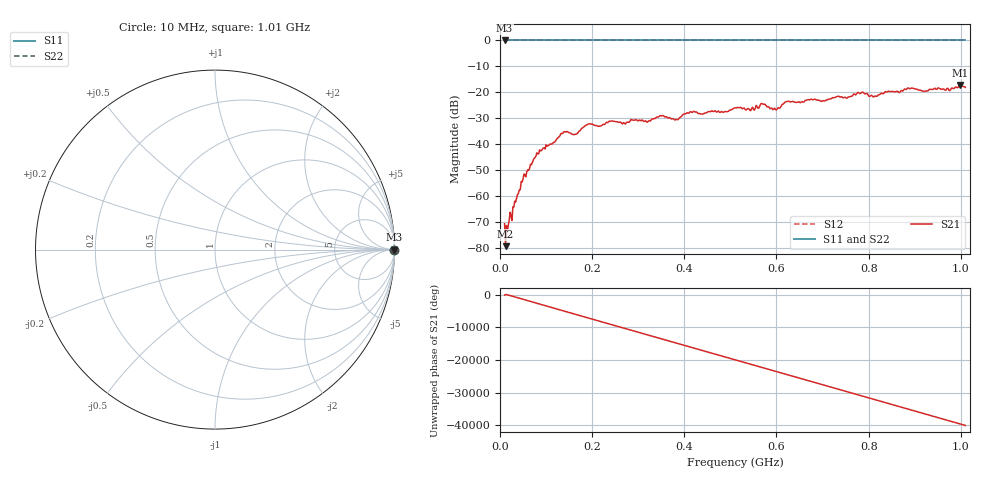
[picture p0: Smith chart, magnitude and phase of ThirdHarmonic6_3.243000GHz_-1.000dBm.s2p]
! 8/17/2025 9:57:42 AM
! C:\ANRITSUVNA\TEMP\TEMP.S2P
! CHANNEL.1
! TR.MEASUREMENT
! RAW.DATA
! RF.CORRECTION.OFF
! AVERAGING.OFF
! IF.BANDWIDTH: 5KHZ
! SWEEPTYPE:  FREQ.SWEEP(Linear)
! Reference Plane Port Info
! PORT:  PORT1  PORT2
! DISTANCE:  0  m  0  m
! TIME:  0  s  0  s
! PHASE.OFFSET:  0  deg.  0  deg.
! LOSS:  0  dB  0  dB
! REF.LOSS:  0  dB  0  dB
! REF.FREQ:  0  Hz  0  Hz
! Power Info
! POWER:  -20  dBm  -20  dBm
! EFF.POWER:  -20  dBm  -20  dBm
! SOURCE.ATTEN:  0  dB  0  dB
! TEST.ATTEN:  0  dB  0  dB
# GHZ S RI R 50.0
! FREQ.GHZ  S11RE  S11IM  S21RE  S21IM  S12RE  S12IM  S22RE  S22IM
!; PortSelection: Port_12
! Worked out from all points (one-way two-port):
!   501 points, 10 MHz to 1.01 GHz, reference 50 ohm
!   highest |S21| = -17.15 dB at 998 MHz (marker M1); lowest = -79.2 dB at 12 MHz (marker M2)
!   lowest |S11| = 0.0 dB at 10 MHz (marker M3)
!   |S11| at or under -10 dB: nowhere
!   |S22| runs from 0.0 to 0.0 dB; largest |S21 - S12| = 1.1
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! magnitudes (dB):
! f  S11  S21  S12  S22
! 10 MHz  0.0  -70.6  0.0  0.0
! 12 MHz  0.0  -79.2  0.0  0.0
! 16 MHz  0.0  -73.7  0.0  0.0
! 18 MHz  0.0  -71.1  0.0  0.0
! 50 MHz  0.0  -53.4  0.0  0.0
! 82 MHz  0.0  -43.6  0.0  0.0
! 136 MHz  0.0  -35.8  0.0  0.0
! 164 MHz  0.0  -36.1  0.0  0.0
! 178 MHz  0.0  -33.7  0.0  0.0
! 344 MHz  0.0  -29.5  0.0  0.0
! 382 MHz  0.0  -30.4  0.0  0.0
! 416 MHz  0.0  -27.7  0.0  0.0
! 510 MHz  0.0  -25.9  0.0  0.0
! 548 MHz  0.0  -25.7  0.0  0.0
! 570 MHz  0.0  -24.4  0.0  0.0
! 596 MHz  0.0  -26.1  0.0  0.0
! 622 MHz  0.0  -23.5  0.0  0.0
! 678 MHz  0.0  -22.8  0.0  0.0
! 814 MHz  0.0  -21.4  0.0  0.0
! 844 MHz  0.0  -19.5  0.0  0.0
! 998 MHz  0.0  -17.2  0.0  0.0
! 1.01 GHz  0.0  -18.1  0.0  0.0
